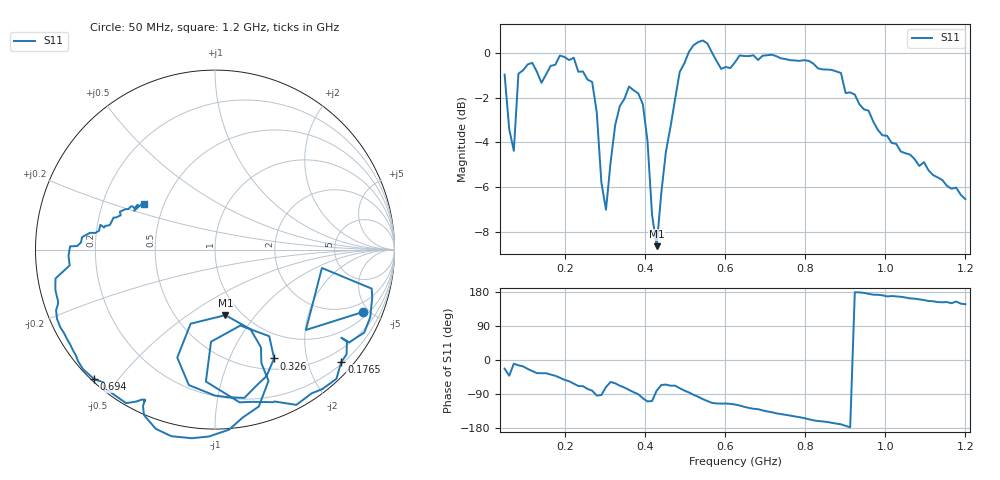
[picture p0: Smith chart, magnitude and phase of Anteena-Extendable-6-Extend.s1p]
# HZ S RI R 50
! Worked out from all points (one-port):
!   101 points, 50 MHz to 1.2 GHz, reference 50 ohm
!   lowest |S11| = -8.6 dB at 429.5 MHz (marker M1), VSWR 2.17, Z = 42.3 - j35.8 ohm
!   |S11| at or under -10 dB: nowhere
!   S11 on the Smith chart (normalised r, x): 50 MHz: 1.31, -4.60; 176.5 MHz: 0.24, -2.61; 326 MHz: 0.64, -1.48; 694 MHz: 0.01, -0.43; 1.2 GHz: 0.39, +0.25
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5e7  0.8254 -0.3472
6.15e7  0.5066 -0.4477
7.3e7  0.5957 -0.1024
8.45e7  0.873 -0.2174
1.305e8  0.7478 -0.5168
1.765e8  0.7038 -0.6261
1.995e8  0.5982 -0.777
2.685e8  0.137 -0.851
2.8e8  -0.0506 -0.7352
2.915e8  -0.0222 -0.5133
3.03e8  0.1412 -0.4231
3.26e8  0.3295 -0.6065
3.375e8  0.2869 -0.7049
3.835e8  -0.00159 -0.8128
4.065e8  -0.2102 -0.6017
4.18e8  -0.1358 -0.4129
4.295e8  0.0581 -0.3651
4.525e8  0.2558 -0.5439
4.87e8  0.2441 -0.8741
5.33e8  -0.1292 -1.051
5.675e8  -0.3953 -0.9223
6.25e8  -0.4396 -0.8466
6.94e8  -0.6736 -0.7215
7.745e8  -0.8252 -0.4965
8.78e8  -0.8896 -0.1919
9.125e8  -0.8162 -0.0341
1.062e9  -0.5656 0.1779
1.2e9  -0.396 0.2554
